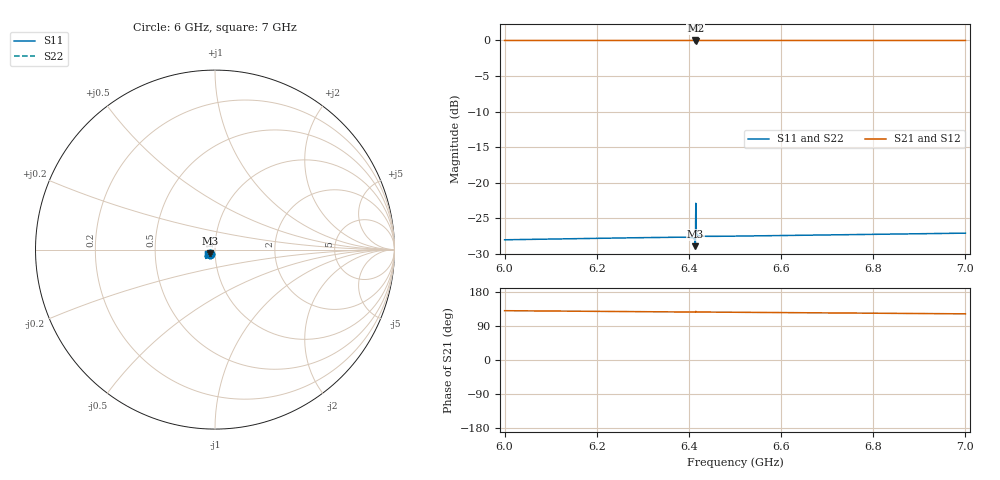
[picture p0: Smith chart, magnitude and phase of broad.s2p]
! Touchstone file exported from HFSS 2021.2.0
!  File:  D:/Jay PhD/Code/Christian Andersen lab metal/andersen-lab-qiskit-metal-7ffcf333120ae557fdd8582a17358975285c58c2/SQL HFSS/Design7_Tunable_Transmon/simulation/aedt/D7.aedt
!  Generated:  8:26:13 %x4E0B%x5348  %x5341%x4E00%x6708 22, 2026
!  Design:  R_7855
!  Project:  D7
!  Setup:  Setup1
!  Solution:  SweepBroad
# GHz S MA R 50.000000
! Terminal data exported
! Port[1] = LumpPort_feedline_end
! Port[2] = LumpPort_feedline_start
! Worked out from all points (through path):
!   1001 points, 6 GHz to 7 GHz, reference 50 ohm
!   highest |S21| = -0.01 dB at 6.414 GHz (marker M1); lowest = 0.0 dB at 6.415 GHz (marker M2)
!   lowest |S11| = -28.9 dB at 6.414 GHz (marker M3), VSWR 1.07, Z = 47.1 - j1.91 ohm
!   |S11| at or under -10 dB: start of sweep to end of sweep
!   |S22| runs from -28.9 to -22.9 dB; largest |S21 - S12| = 1.2e-11
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6  0.03983 -139.9  0.9992 130.1  0.9992 130.1  0.03983 -139.9
! Gamma 0 0 0 0
! Port Impedance 50 0 50 0
6.167  0.04063 -141.2  0.9992 128.7  0.9992 128.7  0.04063 -141.3
6.334  0.04138 -142.6  0.9991 127.3  0.9991 127.3  0.04138 -142.7
6.398  0.04144 -143.3  0.9991 126.8  0.9991 126.8  0.04144 -143.2
6.406  0.04121 -143.4  0.9992 126.7  0.9992 126.7  0.04121 -143.2
6.408  0.04106 -143.5  0.9992 126.7  0.9992 126.7  0.04106 -143.2
6.409  0.04094 -143.5  0.9992 126.7  0.9992 126.7  0.04094 -143.1
6.41  0.04077 -143.6  0.9992 126.6  0.9992 126.6  0.04077 -143.1
6.411  0.04051 -143.7  0.9992 126.6  0.9992 126.6  0.04051 -143.0
6.414  0.03592 -145.6  0.9994 126.3  0.9994 126.3  0.03592 -141.7
6.415  0.07181 -136.5  0.9974 128.4  0.9974 128.4  0.07181 -146.7
6.418  0.04338 -142.8  0.9991 126.7  0.9991 126.7  0.04338 -143.8
6.419  0.04301 -142.9  0.9991 126.7  0.9991 126.7  0.04301 -143.7
6.42  0.04279 -143.0  0.9991 126.7  0.9991 126.7  0.04279 -143.6
6.421  0.04264 -143.1  0.9991 126.7  0.9991 126.7  0.04264 -143.6
6.423  0.04245 -143.2  0.9991 126.6  0.9991 126.6  0.04245 -143.6
6.427  0.04227 -143.3  0.9991 126.6  0.9991 126.6  0.04227 -143.6
6.446  0.04211 -143.5  0.9991 126.4  0.9991 126.4  0.04211 -143.7
6.5  0.04226 -144.0  0.9991 126.0  0.9991 126.0  0.04226 -144.1
6.667  0.04296 -145.4  0.9991 124.6  0.9991 124.6  0.04296 -145.5
6.834  0.04366 -146.8  0.999 123.2  0.999 123.2  0.04366 -146.9
7  0.04435 -148.1  0.999 121.8  0.999 121.8  0.04435 -148.2
